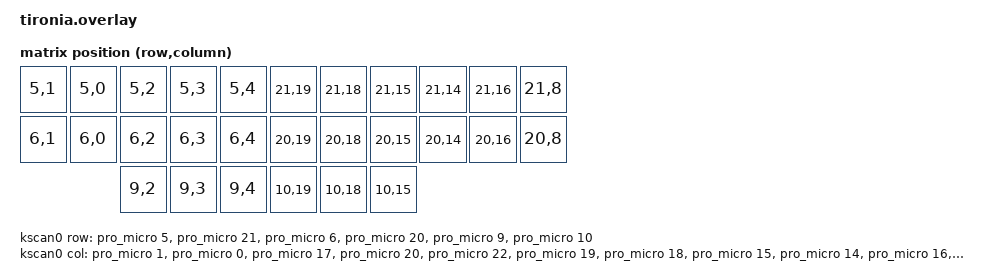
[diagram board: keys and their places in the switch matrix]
#include "Tironia.dtsi"
#include <dt-bindings/zmk/matrix_transform.h>
#include <dt-bindings/zmk/bt.h>
#include <behaviors.dtsi>
#include <dt-bindings/zmk/keys.h>

/ {
    chosen {
        zmk,kscan = &kscan0;
        zmk,matrix_transform = &default_transform;
    };

    default_transform: keymap_transform_0 {
        compatible = "zmk,matrix-transform";
        columns = <11>;
        rows = <3>;

        map = <
            RC(5,1) RC(5,0) RC(5,2) RC(5,3) RC(5,4)  RC(21,19) RC(21,18) RC(21,15) RC(21,14) RC(21,16) RC(21,8)
            RC(6,1) RC(6,0) RC(6,2) RC(6,3) RC(6,4)  RC(20,19) RC(20,18) RC(20,15) RC(20,14) RC(20,16) RC(20,8) 
                            RC(9,2) RC(9,3) RC(9,4)  RC(10,19) RC(10,18) RC(10,15)  
        >;
    };

    kscan0: kscan {
        compatible = "zmk,kscan-gpio-matrix";
        wakeup-source;
        diode-direction = "col2row";
        row-gpios
            = <&pro_micro 5 (GPIO_ACTIVE_HIGH | GPIO_PULL_DOWN)>    // Left top row
            , <&pro_micro 21 (GPIO_ACTIVE_HIGH | GPIO_PULL_DOWN)>   // Right top row  
            , <&pro_micro 6 (GPIO_ACTIVE_HIGH | GPIO_PULL_DOWN)>    // Left middle row
            , <&pro_micro 20 (GPIO_ACTIVE_HIGH | GPIO_PULL_DOWN)>   // Right middle row
            , <&pro_micro 9 (GPIO_ACTIVE_HIGH | GPIO_PULL_DOWN)>    // Left thumb row
            , <&pro_micro 10 (GPIO_ACTIVE_HIGH | GPIO_PULL_DOWN)>   // Right thumb row
            ;
        
        col-gpios
            = <&pro_micro 1 GPIO_ACTIVE_HIGH>   // Col 0 - Left keys
            , <&pro_micro 0 GPIO_ACTIVE_HIGH>   // Col 1 - Left keys
            , <&pro_micro 17 GPIO_ACTIVE_HIGH>   // Col 2 - Left keys  
            , <&pro_micro 20 GPIO_ACTIVE_HIGH>   // Col 3 - Left keys
            , <&pro_micro 22 GPIO_ACTIVE_HIGH>   // Col 4 - Left keys
            , <&pro_micro 19 GPIO_ACTIVE_HIGH>    // Col 5 - Right keys
            , <&pro_micro 18 GPIO_ACTIVE_HIGH>    // Col 6 - Right keys
            , <&pro_micro 15 GPIO_ACTIVE_HIGH>    // Col 7 - Right keys
            , <&pro_micro 14 GPIO_ACTIVE_HIGH>    // Col 8 - Right keys
            , <&pro_micro 16 GPIO_ACTIVE_HIGH>    // Col 9 - Right keys
            , <&pro_micro 8 GPIO_ACTIVE_HIGH>    // Col 10 - Right keys
            ;

    };
};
